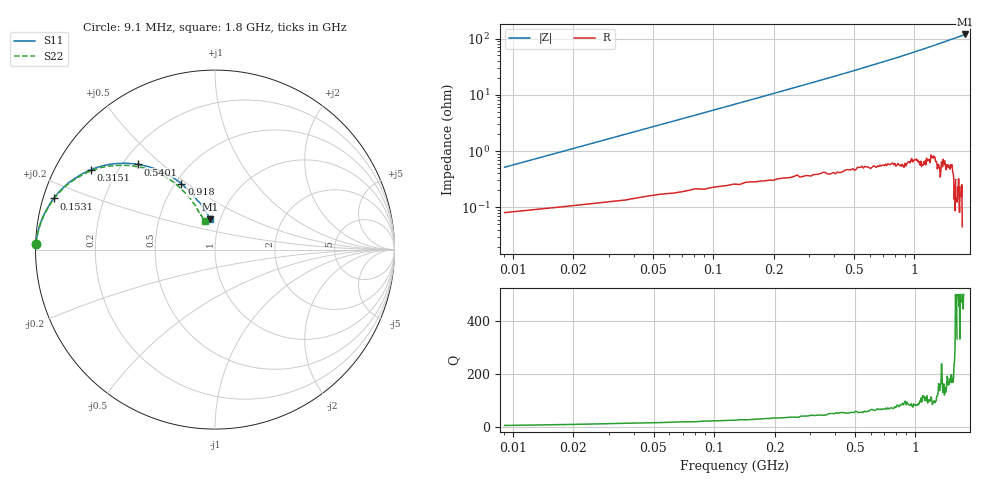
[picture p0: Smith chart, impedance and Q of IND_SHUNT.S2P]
!Agilent Technologies,E5071C,MY46101151,A.11.02
!Date: Sun Sep 24 16:16:42 2017
!Data & Calibration Information:
!Freq	S11:SOLT2(ON)	S21:SOLT2(ON)	S12:SOLT2(ON)	S22:SOLT2(ON)
!PortZ  Port1:50+j0  Port2:50+j0
!Above PortZ is port z conversion or system Z0 setting when saving the data.
!When reading, reference impedance value at option line is always used.
# Hz S RI R 50
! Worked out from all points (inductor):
!   200 points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, 9.1 MHz to 1.8 GHz, reference 50 ohm
!   read as one part in shunt: L = 8.73 nH near 18.1 MHz
!   highest |Z| = 118 ohm at 1.8 GHz (marker M1)
!   S11 on the Smith chart (normalised r, x): 9.1 MHz: 0.00, +0.02; 153.1 MHz: 0.03, +0.15; 315.1 MHz: 0.11, +0.29; 540.1 MHz: 0.26, +0.42; 918 MHz: 0.54, +0.48; 1.8 GHz: 0.90, +0.31
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9099500  -0.9974 0.0327  0.00388 0.0202  0.00457 0.0203  -0.9967 0.0328
1.8099e7  -0.9956 0.047  0.00598 0.0397  0.00604 0.0397  -0.995 0.0463
2.70985e7  -0.9936 0.0633  0.00853 0.0588  0.00868 0.0588  -0.9928 0.0619
3.6098e7  -0.9902 0.0808  0.0116 0.0776  0.012 0.0775  -0.9893 0.0796
4.50975e7  -0.9865 0.0981  0.0157 0.0959  0.0157 0.0959  -0.9861 0.0969
5.4097e7  -0.9821 0.1148  0.0201 0.114  0.0201 0.114  -0.9808 0.1141
7.2096e7  -0.9718 0.1497  0.0306 0.1492  0.0306 0.1497  -0.971 0.1478
9.90945e7  -0.9513 0.198  0.0503 0.1996  0.0506 0.2002  -0.9512 0.1952
1.26093e8  -0.9261 0.2428  0.0745 0.2462  0.0745 0.247  -0.9269 0.24
1.530915e8  -0.8987 0.2849  0.1021 0.2888  0.1023 0.2902  -0.8988 0.2805
1.8009e8  -0.8688 0.3223  0.1326 0.3283  0.1328 0.3285  -0.8688 0.3171
2.250875e8  -0.8129 0.3743  0.1887 0.3838  0.189 0.3847  -0.8133 0.3685
3.150825e8  -0.6915 0.445  0.3077 0.4602  0.3086 0.4601  -0.6967 0.4362
4.14077e8  -0.5658 0.4778  0.4327 0.4998  0.4337 0.501  -0.5715 0.4671
5.4007e8  -0.4297 0.4743  0.5686 0.5056  0.5698 0.5065  -0.439 0.4633
6.12066e8  -0.3664 0.4613  0.6317 0.4962  0.6335 0.4968  -0.3763 0.4486
7.470585e8  -0.272 0.4222  0.7251 0.4653  0.726 0.466  -0.286 0.4111
9.090495e8  -0.1907 0.3704  0.8034 0.423  0.8048 0.4237  -0.208 0.357
9.18049e8  -0.1874 0.367  0.8066 0.4206  0.8081 0.4214  -0.2054 0.354
1.206033e9  -0.1035 0.281  0.8902 0.3483  0.8914 0.3489  -0.1278 0.2688
1.503016e9  -0.0546 0.2158  0.9338 0.2893  0.935 0.2881  -0.0858 0.2027
1.8e9  -0.0254 0.1685  0.9555 0.2451  0.9555 0.2448  -0.0584 0.1584
